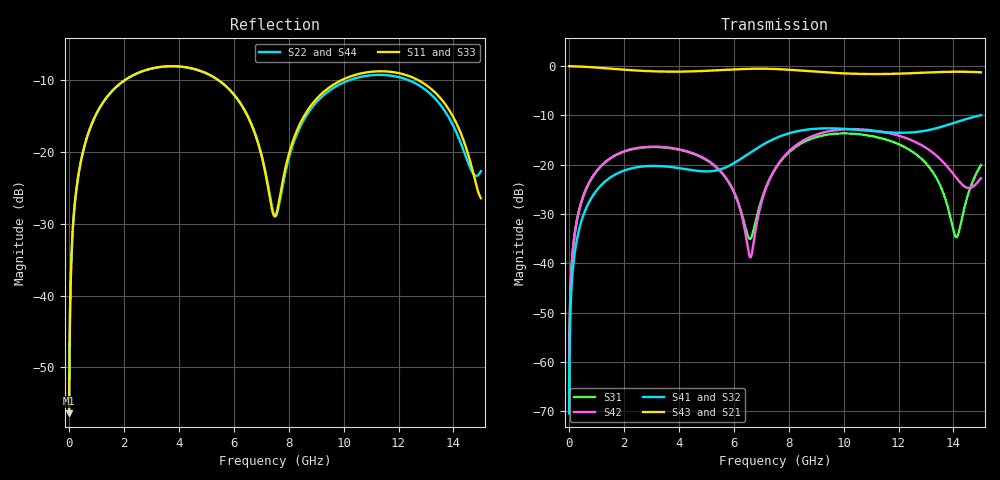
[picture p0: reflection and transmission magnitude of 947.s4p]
! Created with skrf 1.8.0 (http://scikit-rf.org).
# GHz S RI R 50.0
!freq ReS11 ImS11 ReS12 ImS12 ReS13 ImS13
! ReS14 ImS14
! ReS21 ImS21 ReS22 ImS22 ReS23 ImS23
! ReS24 ImS24
! ReS31 ImS31 ReS32 ImS32 ReS33 ImS33
! ReS34 ImS34
! ReS41 ImS41 ReS42 ImS42 ReS43 ImS43
! ReS44 ImS44
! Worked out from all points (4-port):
!   2499 points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, 5 MHz to 15 GHz, reference 50 ohm
!   strongest paths, dB at 5 MHz, 3.476 GHz, 7.19 GHz, 11.1 GHz, 15 GHz:
!     S43: 0.0, -1.1, -0.5, -1.6, -1.3
!     S21: 0.0, -1.1, -0.5, -1.6, -1.3
!     S41: -70.4, -20.3, -15.5, -13.2, -9.9
!     S32: -70.4, -20.3, -15.5, -13.1, -9.9
!     S42: -66.4, -16.4, -24.5, -13.1, -22.7
!     S31: -66.4, -16.5, -24.3, -14.3, -20.1
!   lowest |S11| = -56.4 dB at 5 MHz (marker M1), VSWR 1.00, Z = 50.1 + j0.0917 ohm
!   |S11| at or under -10 dB: start of sweep to 2.026 GHz; 5.448 GHz to 9.918 GHz (4.47 GHz wide, 58.2 % of centre); 12.72 GHz to end of sweep
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0.005  0.0012 0.000915  0.9988 -0.00234  5.91e-05 0.000473  -5.74e-05 -0.000296
       0.9988 -0.00234  0.0012 0.000915  -5.74e-05 -0.000296  5.91e-05 0.000473
       5.91e-05 0.000473  -5.74e-05 -0.000296  0.0012 0.000915  0.9988 -0.00234
       -5.74e-05 -0.000296  5.91e-05 0.000473  0.9988 -0.00234  0.0012 0.000915
0.5127136  0.0306 0.096  0.9573 -0.2356  0.0148 0.0449  -0.0123 -0.0275
           0.9573 -0.2356  0.0305 0.096  -0.0124 -0.0275  0.0151 0.0448
           0.0148 0.0449  -0.0124 -0.0275  0.0305 0.096  0.9573 -0.2356
           -0.0123 -0.0275  0.0151 0.0448  0.9573 -0.2356  0.0305 0.096
2.532305  0.3242 0.1494  0.419 -0.7965  0.1416 0.042  -0.0937 0.0151
          0.419 -0.7965  0.3233 0.1502  -0.0939 0.0154  0.1433 0.0387
          0.1416 0.042  -0.0939 0.0154  0.324 0.1495  0.4191 -0.7965
          -0.0937 0.0151  0.1433 0.0387  0.4191 -0.7965  0.3234 0.1501
6.602751  0.0846 -0.1384  -0.8437 -0.4114  -0.0171 -0.00473  -0.0558 0.1206
          -0.8437 -0.4114  0.086 -0.1386  -0.0537 0.1216  -0.0111 -0.00298
          -0.0171 -0.00473  -0.0537 0.1216  0.0838 -0.1375  -0.844 -0.4113
          -0.0558 0.1206  -0.0111 -0.00298  -0.844 -0.4113  0.0858 -0.1374
7.653189  0.0399 0.0226  -0.9308 0.0175  0.00598 0.1034  0.00971 0.1921
          -0.9308 0.0175  0.0388 0.0187  0.0127 0.1921  0.0243 0.1018
          0.00598 0.1034  0.0127 0.1921  0.039 0.0239  -0.9308 0.0178
          0.00971 0.1921  0.0243 0.1018  -0.9308 0.0178  0.0398 0.0205
11.31096  0.3646 -0.0214  -0.0886 0.8271  0.185 -0.0302  0.2092 -0.0544
          -0.0886 0.8271  0.3449 -0.0012  0.2102 -0.0608  0.1941 -0.0992
          0.185 -0.0302  0.2102 -0.0608  0.3644 -0.0181  -0.0894 0.8265
          0.2092 -0.0544  0.1941 -0.0992  -0.0894 0.8265  0.3481 -0.00396
15  0.046 -0.0127  0.8565 0.122  0.0448 0.0881  0.0417 -0.3155
    0.8565 0.122  0.0704 0.0209  0.0305 -0.3169  -0.0358 0.0636
    0.0448 0.0881  0.0305 -0.3169  0.0444 -0.0153  0.8562 0.1246
    0.0417 -0.3155  -0.0358 0.0636  0.8562 0.1246  0.0715 0.0199
